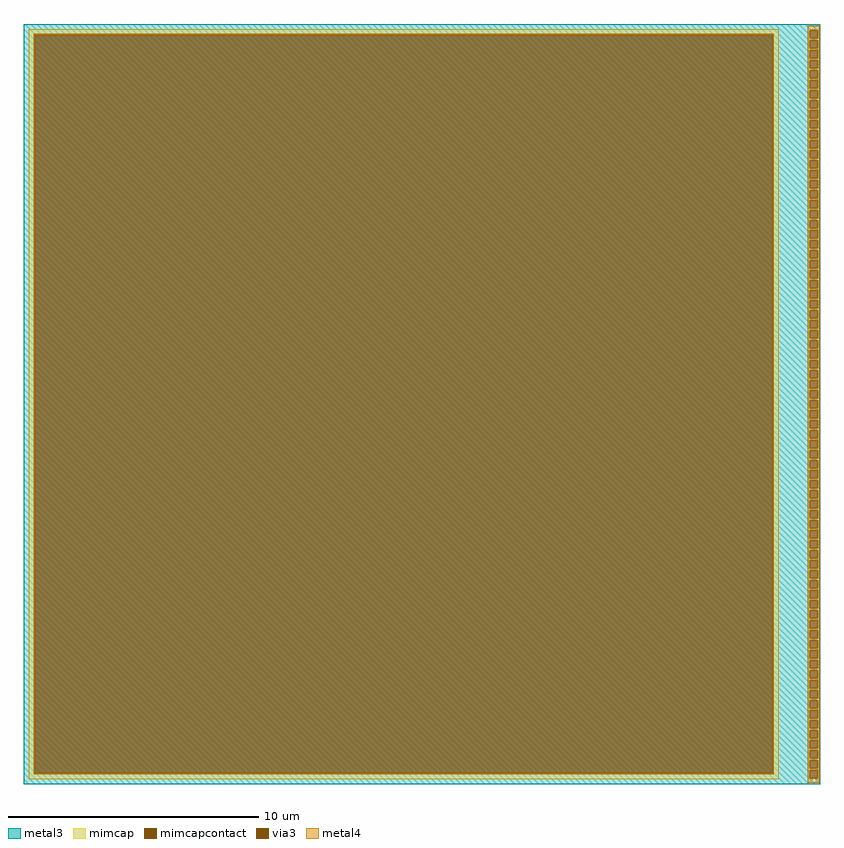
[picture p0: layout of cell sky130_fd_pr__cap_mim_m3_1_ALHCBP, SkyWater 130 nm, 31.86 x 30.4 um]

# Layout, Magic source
magic
tech sky130A
magscale 1 2
<< metal3 >>
rect -3186 2992 3186 3040
rect -3186 2928 3102 2992
rect 3166 2928 3186 2992
rect -3186 2912 3186 2928
rect -3186 2848 3102 2912
rect 3166 2848 3186 2912
rect -3186 2832 3186 2848
rect -3186 2768 3102 2832
rect 3166 2768 3186 2832
rect -3186 2752 3186 2768
rect -3186 2688 3102 2752
rect 3166 2688 3186 2752
rect -3186 2672 3186 2688
rect -3186 2608 3102 2672
rect 3166 2608 3186 2672
rect -3186 2592 3186 2608
rect -3186 2528 3102 2592
rect 3166 2528 3186 2592
rect -3186 2512 3186 2528
rect -3186 2448 3102 2512
rect 3166 2448 3186 2512
rect -3186 2432 3186 2448
rect -3186 2368 3102 2432
rect 3166 2368 3186 2432
rect -3186 2352 3186 2368
rect -3186 2288 3102 2352
rect 3166 2288 3186 2352
rect -3186 2272 3186 2288
rect -3186 2208 3102 2272
rect 3166 2208 3186 2272
rect -3186 2192 3186 2208
rect -3186 2128 3102 2192
rect 3166 2128 3186 2192
rect -3186 2112 3186 2128
rect -3186 2048 3102 2112
rect 3166 2048 3186 2112
rect -3186 2032 3186 2048
rect -3186 1968 3102 2032
rect 3166 1968 3186 2032
rect -3186 1952 3186 1968
rect -3186 1888 3102 1952
rect 3166 1888 3186 1952
rect -3186 1872 3186 1888
rect -3186 1808 3102 1872
rect 3166 1808 3186 1872
rect -3186 1792 3186 1808
rect -3186 1728 3102 1792
rect 3166 1728 3186 1792
rect -3186 1712 3186 1728
rect -3186 1648 3102 1712
rect 3166 1648 3186 1712
rect -3186 1632 3186 1648
rect -3186 1568 3102 1632
rect 3166 1568 3186 1632
rect -3186 1552 3186 1568
rect -3186 1488 3102 1552
rect 3166 1488 3186 1552
rect -3186 1472 3186 1488
rect -3186 1408 3102 1472
rect 3166 1408 3186 1472
rect -3186 1392 3186 1408
rect -3186 1328 3102 1392
rect 3166 1328 3186 1392
rect -3186 1312 3186 1328
rect -3186 1248 3102 1312
rect 3166 1248 3186 1312
rect -3186 1232 3186 1248
rect -3186 1168 3102 1232
rect 3166 1168 3186 1232
rect -3186 1152 3186 1168
rect -3186 1088 3102 1152
rect 3166 1088 3186 1152
rect -3186 1072 3186 1088
rect -3186 1008 3102 1072
rect 3166 1008 3186 1072
rect -3186 992 3186 1008
rect -3186 928 3102 992
rect 3166 928 3186 992
rect -3186 912 3186 928
rect -3186 848 3102 912
rect 3166 848 3186 912
rect -3186 832 3186 848
rect -3186 768 3102 832
rect 3166 768 3186 832
rect -3186 752 3186 768
rect -3186 688 3102 752
rect 3166 688 3186 752
rect -3186 672 3186 688
rect -3186 608 3102 672
rect 3166 608 3186 672
rect -3186 592 3186 608
rect -3186 528 3102 592
rect 3166 528 3186 592
rect -3186 512 3186 528
rect -3186 448 3102 512
rect 3166 448 3186 512
rect -3186 432 3186 448
rect -3186 368 3102 432
rect 3166 368 3186 432
rect -3186 352 3186 368
rect -3186 288 3102 352
rect 3166 288 3186 352
rect -3186 272 3186 288
rect -3186 208 3102 272
rect 3166 208 3186 272
rect -3186 192 3186 208
rect -3186 128 3102 192
rect 3166 128 3186 192
rect -3186 112 3186 128
rect -3186 48 3102 112
rect 3166 48 3186 112
rect -3186 32 3186 48
rect -3186 -32 3102 32
rect 3166 -32 3186 32
rect -3186 -48 3186 -32
rect -3186 -112 3102 -48
rect 3166 -112 3186 -48
rect -3186 -128 3186 -112
rect -3186 -192 3102 -128
rect 3166 -192 3186 -128
rect -3186 -208 3186 -192
rect -3186 -272 3102 -208
rect 3166 -272 3186 -208
rect -3186 -288 3186 -272
rect -3186 -352 3102 -288
rect 3166 -352 3186 -288
rect -3186 -368 3186 -352
rect -3186 -432 3102 -368
rect 3166 -432 3186 -368
rect -3186 -448 3186 -432
rect -3186 -512 3102 -448
rect 3166 -512 3186 -448
rect -3186 -528 3186 -512
rect -3186 -592 3102 -528
rect 3166 -592 3186 -528
rect -3186 -608 3186 -592
rect -3186 -672 3102 -608
rect 3166 -672 3186 -608
rect -3186 -688 3186 -672
rect -3186 -752 3102 -688
rect 3166 -752 3186 -688
rect -3186 -768 3186 -752
rect -3186 -832 3102 -768
rect 3166 -832 3186 -768
rect -3186 -848 3186 -832
rect -3186 -912 3102 -848
rect 3166 -912 3186 -848
rect -3186 -928 3186 -912
rect -3186 -992 3102 -928
rect 3166 -992 3186 -928
rect -3186 -1008 3186 -992
rect -3186 -1072 3102 -1008
rect 3166 -1072 3186 -1008
rect -3186 -1088 3186 -1072
rect -3186 -1152 3102 -1088
rect 3166 -1152 3186 -1088
rect -3186 -1168 3186 -1152
rect -3186 -1232 3102 -1168
rect 3166 -1232 3186 -1168
rect -3186 -1248 3186 -1232
rect -3186 -1312 3102 -1248
rect 3166 -1312 3186 -1248
rect -3186 -1328 3186 -1312
rect -3186 -1392 3102 -1328
rect 3166 -1392 3186 -1328
rect -3186 -1408 3186 -1392
rect -3186 -1472 3102 -1408
rect 3166 -1472 3186 -1408
rect -3186 -1488 3186 -1472
rect -3186 -1552 3102 -1488
rect 3166 -1552 3186 -1488
rect -3186 -1568 3186 -1552
rect -3186 -1632 3102 -1568
rect 3166 -1632 3186 -1568
rect -3186 -1648 3186 -1632
rect -3186 -1712 3102 -1648
rect 3166 -1712 3186 -1648
rect -3186 -1728 3186 -1712
rect -3186 -1792 3102 -1728
rect 3166 -1792 3186 -1728
rect -3186 -1808 3186 -1792
rect -3186 -1872 3102 -1808
rect 3166 -1872 3186 -1808
rect -3186 -1888 3186 -1872
rect -3186 -1952 3102 -1888
rect 3166 -1952 3186 -1888
rect -3186 -1968 3186 -1952
rect -3186 -2032 3102 -1968
rect 3166 -2032 3186 -1968
rect -3186 -2048 3186 -2032
rect -3186 -2112 3102 -2048
rect 3166 -2112 3186 -2048
rect -3186 -2128 3186 -2112
rect -3186 -2192 3102 -2128
rect 3166 -2192 3186 -2128
rect -3186 -2208 3186 -2192
rect -3186 -2272 3102 -2208
rect 3166 -2272 3186 -2208
rect -3186 -2288 3186 -2272
rect -3186 -2352 3102 -2288
rect 3166 -2352 3186 -2288
rect -3186 -2368 3186 -2352
rect -3186 -2432 3102 -2368
rect 3166 -2432 3186 -2368
rect -3186 -2448 3186 -2432
rect -3186 -2512 3102 -2448
rect 3166 -2512 3186 -2448
rect -3186 -2528 3186 -2512
rect -3186 -2592 3102 -2528
rect 3166 -2592 3186 -2528
rect -3186 -2608 3186 -2592
rect -3186 -2672 3102 -2608
rect 3166 -2672 3186 -2608
rect -3186 -2688 3186 -2672
rect -3186 -2752 3102 -2688
rect 3166 -2752 3186 -2688
rect -3186 -2768 3186 -2752
rect -3186 -2832 3102 -2768
rect 3166 -2832 3186 -2768
rect -3186 -2848 3186 -2832
rect -3186 -2912 3102 -2848
rect 3166 -2912 3186 -2848
rect -3186 -2928 3186 -2912
rect -3186 -2992 3102 -2928
rect 3166 -2992 3186 -2928
rect -3186 -3040 3186 -2992
<< via3 >>
rect 3102 2928 3166 2992
rect 3102 2848 3166 2912
rect 3102 2768 3166 2832
rect 3102 2688 3166 2752
rect 3102 2608 3166 2672
rect 3102 2528 3166 2592
rect 3102 2448 3166 2512
rect 3102 2368 3166 2432
rect 3102 2288 3166 2352
rect 3102 2208 3166 2272
rect 3102 2128 3166 2192
rect 3102 2048 3166 2112
rect 3102 1968 3166 2032
rect 3102 1888 3166 1952
rect 3102 1808 3166 1872
rect 3102 1728 3166 1792
rect 3102 1648 3166 1712
rect 3102 1568 3166 1632
rect 3102 1488 3166 1552
rect 3102 1408 3166 1472
rect 3102 1328 3166 1392
rect 3102 1248 3166 1312
rect 3102 1168 3166 1232
rect 3102 1088 3166 1152
rect 3102 1008 3166 1072
rect 3102 928 3166 992
rect 3102 848 3166 912
rect 3102 768 3166 832
rect 3102 688 3166 752
rect 3102 608 3166 672
rect 3102 528 3166 592
rect 3102 448 3166 512
rect 3102 368 3166 432
rect 3102 288 3166 352
rect 3102 208 3166 272
rect 3102 128 3166 192
rect 3102 48 3166 112
rect 3102 -32 3166 32
rect 3102 -112 3166 -48
rect 3102 -192 3166 -128
rect 3102 -272 3166 -208
rect 3102 -352 3166 -288
rect 3102 -432 3166 -368
rect 3102 -512 3166 -448
rect 3102 -592 3166 -528
rect 3102 -672 3166 -608
rect 3102 -752 3166 -688
rect 3102 -832 3166 -768
rect 3102 -912 3166 -848
rect 3102 -992 3166 -928
rect 3102 -1072 3166 -1008
rect 3102 -1152 3166 -1088
rect 3102 -1232 3166 -1168
rect 3102 -1312 3166 -1248
rect 3102 -1392 3166 -1328
rect 3102 -1472 3166 -1408
rect 3102 -1552 3166 -1488
rect 3102 -1632 3166 -1568
rect 3102 -1712 3166 -1648
rect 3102 -1792 3166 -1728
rect 3102 -1872 3166 -1808
rect 3102 -1952 3166 -1888
rect 3102 -2032 3166 -1968
rect 3102 -2112 3166 -2048
rect 3102 -2192 3166 -2128
rect 3102 -2272 3166 -2208
rect 3102 -2352 3166 -2288
rect 3102 -2432 3166 -2368
rect 3102 -2512 3166 -2448
rect 3102 -2592 3166 -2528
rect 3102 -2672 3166 -2608
rect 3102 -2752 3166 -2688
rect 3102 -2832 3166 -2768
rect 3102 -2912 3166 -2848
rect 3102 -2992 3166 -2928
<< mimcap >>
rect -3146 2952 2854 3000
rect -3146 -2952 -3098 2952
rect 2806 -2952 2854 2952
rect -3146 -3000 2854 -2952
<< mimcapcontact >>
rect -3098 -2952 2806 2952
<< metal4 >>
rect 3086 2992 3182 3028
rect -3107 2952 2815 2961
rect -3107 -2952 -3098 2952
rect 2806 -2952 2815 2952
rect -3107 -2961 2815 -2952
rect 3086 2928 3102 2992
rect 3166 2928 3182 2992
rect 3086 2912 3182 2928
rect 3086 2848 3102 2912
rect 3166 2848 3182 2912
rect 3086 2832 3182 2848
rect 3086 2768 3102 2832
rect 3166 2768 3182 2832
rect 3086 2752 3182 2768
rect 3086 2688 3102 2752
rect 3166 2688 3182 2752
rect 3086 2672 3182 2688
rect 3086 2608 3102 2672
rect 3166 2608 3182 2672
rect 3086 2592 3182 2608
rect 3086 2528 3102 2592
rect 3166 2528 3182 2592
rect 3086 2512 3182 2528
rect 3086 2448 3102 2512
rect 3166 2448 3182 2512
rect 3086 2432 3182 2448
rect 3086 2368 3102 2432
rect 3166 2368 3182 2432
rect 3086 2352 3182 2368
rect 3086 2288 3102 2352
rect 3166 2288 3182 2352
rect 3086 2272 3182 2288
rect 3086 2208 3102 2272
rect 3166 2208 3182 2272
rect 3086 2192 3182 2208
rect 3086 2128 3102 2192
rect 3166 2128 3182 2192
rect 3086 2112 3182 2128
rect 3086 2048 3102 2112
rect 3166 2048 3182 2112
rect 3086 2032 3182 2048
rect 3086 1968 3102 2032
rect 3166 1968 3182 2032
rect 3086 1952 3182 1968
rect 3086 1888 3102 1952
rect 3166 1888 3182 1952
rect 3086 1872 3182 1888
rect 3086 1808 3102 1872
rect 3166 1808 3182 1872
rect 3086 1792 3182 1808
rect 3086 1728 3102 1792
rect 3166 1728 3182 1792
rect 3086 1712 3182 1728
rect 3086 1648 3102 1712
rect 3166 1648 3182 1712
rect 3086 1632 3182 1648
rect 3086 1568 3102 1632
rect 3166 1568 3182 1632
rect 3086 1552 3182 1568
rect 3086 1488 3102 1552
rect 3166 1488 3182 1552
rect 3086 1472 3182 1488
rect 3086 1408 3102 1472
rect 3166 1408 3182 1472
rect 3086 1392 3182 1408
rect 3086 1328 3102 1392
rect 3166 1328 3182 1392
rect 3086 1312 3182 1328
rect 3086 1248 3102 1312
rect 3166 1248 3182 1312
rect 3086 1232 3182 1248
rect 3086 1168 3102 1232
rect 3166 1168 3182 1232
rect 3086 1152 3182 1168
rect 3086 1088 3102 1152
rect 3166 1088 3182 1152
rect 3086 1072 3182 1088
rect 3086 1008 3102 1072
rect 3166 1008 3182 1072
rect 3086 992 3182 1008
rect 3086 928 3102 992
rect 3166 928 3182 992
rect 3086 912 3182 928
rect 3086 848 3102 912
rect 3166 848 3182 912
rect 3086 832 3182 848
rect 3086 768 3102 832
rect 3166 768 3182 832
rect 3086 752 3182 768
rect 3086 688 3102 752
rect 3166 688 3182 752
rect 3086 672 3182 688
rect 3086 608 3102 672
rect 3166 608 3182 672
rect 3086 592 3182 608
rect 3086 528 3102 592
rect 3166 528 3182 592
rect 3086 512 3182 528
rect 3086 448 3102 512
rect 3166 448 3182 512
rect 3086 432 3182 448
rect 3086 368 3102 432
rect 3166 368 3182 432
rect 3086 352 3182 368
rect 3086 288 3102 352
rect 3166 288 3182 352
rect 3086 272 3182 288
rect 3086 208 3102 272
rect 3166 208 3182 272
rect 3086 192 3182 208
rect 3086 128 3102 192
rect 3166 128 3182 192
rect 3086 112 3182 128
rect 3086 48 3102 112
rect 3166 48 3182 112
rect 3086 32 3182 48
rect 3086 -32 3102 32
rect 3166 -32 3182 32
rect 3086 -48 3182 -32
rect 3086 -112 3102 -48
rect 3166 -112 3182 -48
rect 3086 -128 3182 -112
rect 3086 -192 3102 -128
rect 3166 -192 3182 -128
rect 3086 -208 3182 -192
rect 3086 -272 3102 -208
rect 3166 -272 3182 -208
rect 3086 -288 3182 -272
rect 3086 -352 3102 -288
rect 3166 -352 3182 -288
rect 3086 -368 3182 -352
rect 3086 -432 3102 -368
rect 3166 -432 3182 -368
rect 3086 -448 3182 -432
rect 3086 -512 3102 -448
rect 3166 -512 3182 -448
rect 3086 -528 3182 -512
rect 3086 -592 3102 -528
rect 3166 -592 3182 -528
rect 3086 -608 3182 -592
rect 3086 -672 3102 -608
rect 3166 -672 3182 -608
rect 3086 -688 3182 -672
rect 3086 -752 3102 -688
rect 3166 -752 3182 -688
rect 3086 -768 3182 -752
rect 3086 -832 3102 -768
rect 3166 -832 3182 -768
rect 3086 -848 3182 -832
rect 3086 -912 3102 -848
rect 3166 -912 3182 -848
rect 3086 -928 3182 -912
rect 3086 -992 3102 -928
rect 3166 -992 3182 -928
rect 3086 -1008 3182 -992
rect 3086 -1072 3102 -1008
rect 3166 -1072 3182 -1008
rect 3086 -1088 3182 -1072
rect 3086 -1152 3102 -1088
rect 3166 -1152 3182 -1088
rect 3086 -1168 3182 -1152
rect 3086 -1232 3102 -1168
rect 3166 -1232 3182 -1168
rect 3086 -1248 3182 -1232
rect 3086 -1312 3102 -1248
rect 3166 -1312 3182 -1248
rect 3086 -1328 3182 -1312
rect 3086 -1392 3102 -1328
rect 3166 -1392 3182 -1328
rect 3086 -1408 3182 -1392
rect 3086 -1472 3102 -1408
rect 3166 -1472 3182 -1408
rect 3086 -1488 3182 -1472
rect 3086 -1552 3102 -1488
rect 3166 -1552 3182 -1488
rect 3086 -1568 3182 -1552
rect 3086 -1632 3102 -1568
rect 3166 -1632 3182 -1568
rect 3086 -1648 3182 -1632
rect 3086 -1712 3102 -1648
rect 3166 -1712 3182 -1648
rect 3086 -1728 3182 -1712
rect 3086 -1792 3102 -1728
rect 3166 -1792 3182 -1728
rect 3086 -1808 3182 -1792
rect 3086 -1872 3102 -1808
rect 3166 -1872 3182 -1808
rect 3086 -1888 3182 -1872
rect 3086 -1952 3102 -1888
rect 3166 -1952 3182 -1888
rect 3086 -1968 3182 -1952
rect 3086 -2032 3102 -1968
rect 3166 -2032 3182 -1968
rect 3086 -2048 3182 -2032
rect 3086 -2112 3102 -2048
rect 3166 -2112 3182 -2048
rect 3086 -2128 3182 -2112
rect 3086 -2192 3102 -2128
rect 3166 -2192 3182 -2128
rect 3086 -2208 3182 -2192
rect 3086 -2272 3102 -2208
rect 3166 -2272 3182 -2208
rect 3086 -2288 3182 -2272
rect 3086 -2352 3102 -2288
rect 3166 -2352 3182 -2288
rect 3086 -2368 3182 -2352
rect 3086 -2432 3102 -2368
rect 3166 -2432 3182 -2368
rect 3086 -2448 3182 -2432
rect 3086 -2512 3102 -2448
rect 3166 -2512 3182 -2448
rect 3086 -2528 3182 -2512
rect 3086 -2592 3102 -2528
rect 3166 -2592 3182 -2528
rect 3086 -2608 3182 -2592
rect 3086 -2672 3102 -2608
rect 3166 -2672 3182 -2608
rect 3086 -2688 3182 -2672
rect 3086 -2752 3102 -2688
rect 3166 -2752 3182 -2688
rect 3086 -2768 3182 -2752
rect 3086 -2832 3102 -2768
rect 3166 -2832 3182 -2768
rect 3086 -2848 3182 -2832
rect 3086 -2912 3102 -2848
rect 3166 -2912 3182 -2848
rect 3086 -2928 3182 -2912
rect 3086 -2992 3102 -2928
rect 3166 -2992 3182 -2928
rect 3086 -3028 3182 -2992
<< properties >>
string FIXED_BBOX -3186 -3040 2894 3040
<< end >>
